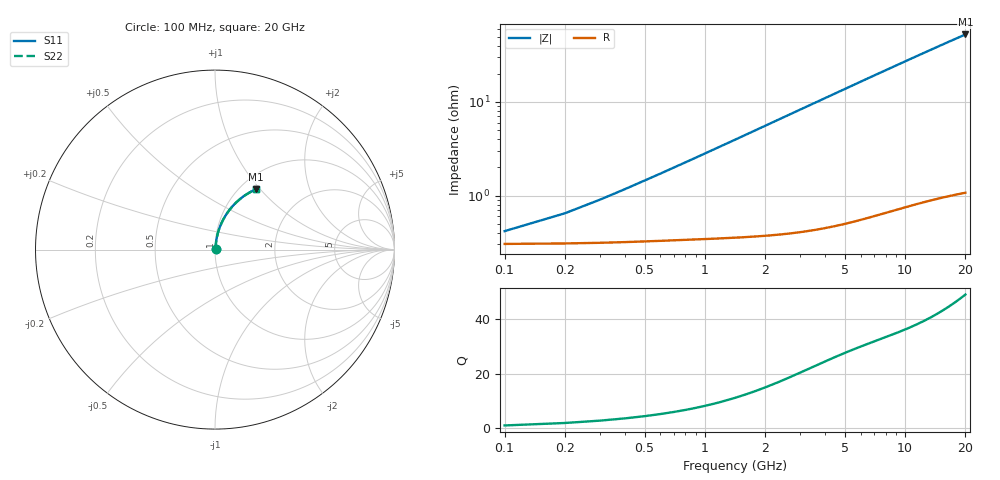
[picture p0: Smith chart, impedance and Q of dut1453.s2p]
! Touchstone file exported from HFSS 2026.1.0
!  File:  C:/ffzhzh/LocalFiles/Ansys_Project_Files/temp_train_TMRDL_1453_1783167210_43440.aedt
!  Generated:  08:14:42 PM Jul  4, 2026
!  Design:  TMRDL
!  Project:  temp_train_TMRDL_1453_1783167210_43440
! Variables:
!  h_bsmrdl = 2um
!  h_ox = 20um
!  h_rdl = 5um
!  h_sub = 80um
!  h_tmrdl = 3.95um
!  h_tsv = 80um
!  h_via = 3um
!  l_bsmrdl = 300um
!  l_sub = 779.56um
!  l_tmrdl = 379.56um
!  m_sub = 200um
!  pitch = 54.92um
!  r_tsv = 6um
!  s_tmrdl = 10um
!  w_bsmrdl = 18um
!  w_sub = 500um
!  w_tmrdl = 11.55um
!  x_tsv_center1 = 385.335um
!  x_tsv_center2 = 703.335um
!  x_tsv_center3 = 1094.445um
!  x_tsv_center4 = 1412.445um
!  x_tsv_center5 = 1803.555um
!  x_tsv_center6 = 2121.555um
# GHz S MA R 50.000000
! Terminal data exported
! Port[1] = TM_RDL1_1_T1
! Port[2] = TM_RDL1_1_T2
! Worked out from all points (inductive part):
!   200 points, 100 MHz to 20 GHz, reference 50 ohm
!   read as one part in series: L = 447 pH near 400 MHz
!   highest Q = 49.2 at 20 GHz (marker M1), where L = 419 pH
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0.1  0.003896 38.8  0.997 -0.2  0.997 -0.2  0.003896 38.8
! Gamma 0 0 0 0
! Port Impedance 50 0 50 0
0.2  0.005772 57.6  0.9969 -0.4  0.9969 -0.4  0.005772 57.6
0.3  0.007949 66.4  0.9969 -0.6  0.9969 -0.6  0.007949 66.4
0.4  0.01022 71.2  0.9968 -0.7  0.9968 -0.7  0.01022 71.2
0.5  0.01253 74.2  0.9967 -0.9  0.9967 -0.9  0.01253 74.2
0.6  0.01485 76.2  0.9966 -1.1  0.9966 -1.1  0.01485 76.2
0.8  0.01951 78.7  0.9965 -1.5  0.9965 -1.5  0.01952 78.7
1.1  0.02654 80.6  0.9962 -2.0  0.9962 -2.0  0.02654 80.6
1.5  0.03594 81.6  0.9958 -2.7  0.9958 -2.7  0.03594 81.6
1.8  0.04299 81.9  0.9955 -3.2  0.9955 -3.2  0.04299 81.9
2.1  0.05004 81.9  0.995 -3.8  0.995 -3.8  0.05004 81.9
2.7  0.06409 81.6  0.994 -4.9  0.994 -4.9  0.06409 81.6
3.5  0.08272 80.8  0.9924 -6.3  0.9924 -6.3  0.08272 80.8
4.2  0.09888 79.9  0.9906 -7.5  0.9906 -7.5  0.09888 79.8
5  0.1172 78.7  0.9882 -8.9  0.9882 -8.9  0.1172 78.7
5.9  0.1374 77.3  0.9852 -10.5  0.9852 -10.5  0.1374 77.2
6.8  0.1574 75.9  0.9817 -12.1  0.9817 -12.1  0.1574 75.8
8.3  0.19 73.4  0.9753 -14.6  0.9753 -14.6  0.19 73.4
10.1  0.2278 70.6  0.9664 -17.6  0.9664 -17.6  0.2278 70.5
13.4  0.2933 65.4  0.9476 -23.0  0.9476 -23.0  0.2933 65.3
16.7  0.3534 60.4  0.9263 -28.1  0.9263 -28.1  0.3535 60.3
20  0.408 55.7  0.9033 -33.0  0.9033 -33.0  0.408 55.6
